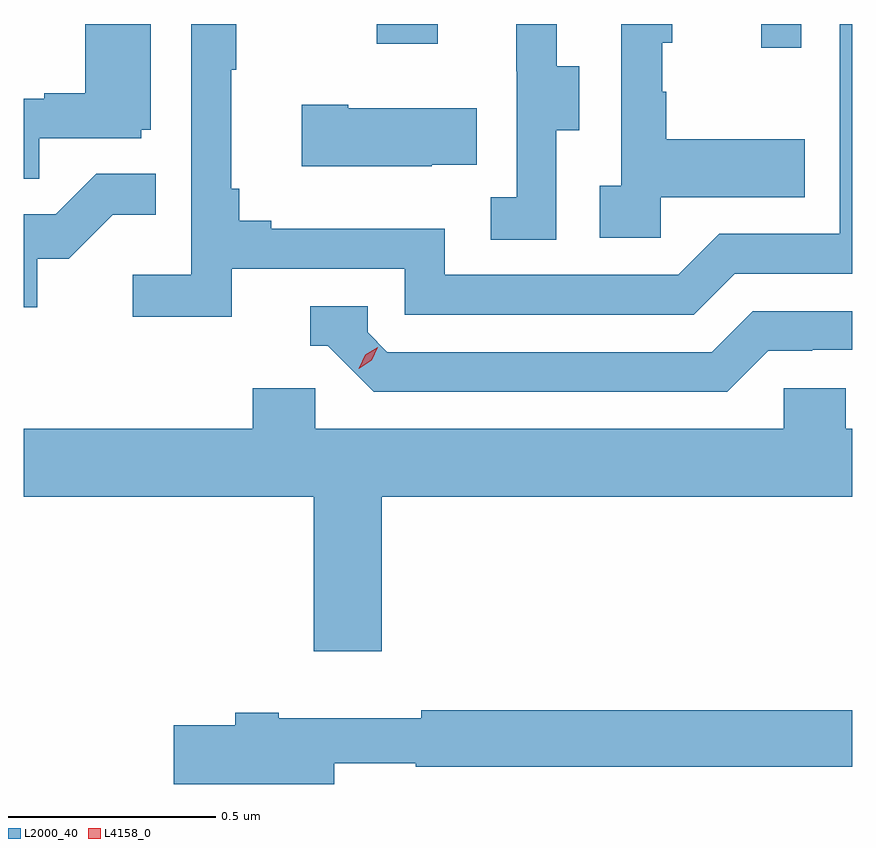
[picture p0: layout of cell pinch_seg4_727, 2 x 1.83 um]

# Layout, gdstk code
import gdstk
lib = gdstk.Library(unit=1e-6, precision=1e-09)
def R(c, l, rs):  # rectangles x0, y0, x1, y1
    for r in rs: c.add(gdstk.rectangle(r[:2], r[2:], *l))
def P(c, l, *ps):  # polygons
    for p in ps: c.add(gdstk.Polygon(p, *l))
L2000_40 = (2000, 40)
L4158_0 = (4158, 0)

pinch_seg4_727 = lib.new_cell('pinch_seg4_727')
R(pinch_seg4_727, L2000_40, [(849.404,821.88,849.501,821.937), (848.476,821.889,848.623,821.937)])
P(pinch_seg4_727, L2000_40, [(849.162,821.519),(849.509,821.519),(849.509,821.659),(849.175,821.659),(849.175,821.774),(849.165,821.774),(849.165,821.892),(849.19,821.892),(849.19,821.937),(849.066,821.937),(849.066,821.546),(849.015,821.546),(849.015,821.421),(849.162,821.421)],
  [(847.661,821.661),(847.908,821.661),(847.908,821.682),(847.93,821.682),(847.93,821.937),(847.772,821.937),(847.772,821.77),(847.673,821.77),(847.673,821.757),(847.624,821.757),(847.624,821.563),(847.661,821.563)],
  [(848.91,821.68),(848.965,821.68),(848.965,821.835),(848.911,821.835),(848.911,821.937),(848.813,821.937),(848.813,821.823),(848.814,821.823),(848.814,821.519),(848.751,821.519),(848.751,821.416),(848.91,821.416)],
  [(848.126,821.346),(848.544,821.346),(848.544,821.235),(849.241,821.235),(849.34,821.334),(849.624,821.334),(849.624,821.937),(849.594,821.937),(849.594,821.43),(849.303,821.43),(849.204,821.331),(848.64,821.331),(848.64,821.443),(848.221,821.443),(848.221,821.462),(848.144,821.462),(848.144,821.539),(848.125,821.539),(848.125,821.827),(848.137,821.827),(848.137,821.937),(848.028,821.937),(848.028,821.332),(847.887,821.332),(847.887,821.23),(848.126,821.23)],
  [(848.609,821.597),(848.717,821.597),(848.717,821.734),(848.407,821.734),(848.407,821.742),(848.295,821.742),(848.295,821.594),(848.609,821.594)],
  [(847.656,821.37),(847.732,821.37),(847.839,821.477),(847.943,821.477),(847.943,821.576),(847.799,821.576),(847.701,821.478),(847.624,821.478),(847.624,821.253),(847.656,821.253)],
  [(849.421,821.148),(849.528,821.148),(849.528,821.151),(849.624,821.151),(849.624,821.244),(849.384,821.244),(849.285,821.145),(848.502,821.145),(848.454,821.193),(848.454,821.256),(848.315,821.256),(848.315,821.16),(848.358,821.16),(848.469,821.049),(849.322,821.049)],
  [(848.488,820.796),(849.624,820.796),(849.624,820.96),(849.609,820.96),(849.609,821.058),(849.459,821.058),(849.459,820.96),(848.328,820.96),(848.328,821.058),(848.177,821.058),(848.177,820.96),(847.624,820.96),(847.624,820.796),(848.324,820.796),(848.324,820.422),(848.488,820.422)],
  [(848.374,820.152),(848.57,820.152),(848.57,820.144),(849.624,820.144),(849.624,820.28),(848.584,820.28),(848.584,820.261),(848.239,820.261),(848.239,820.274),(848.135,820.274),(848.135,820.244),(847.986,820.244),(847.986,820.102),(848.374,820.102)])
P(pinch_seg4_727, L4158_0, [(848.433,821.105),(848.433,821.105),(848.448,821.138),(848.479,821.157),(848.479,821.157),(848.479,821.157),(848.464,821.125),(848.433,821.105)])

lib.write_gds('pinch_seg4_727.gds')
